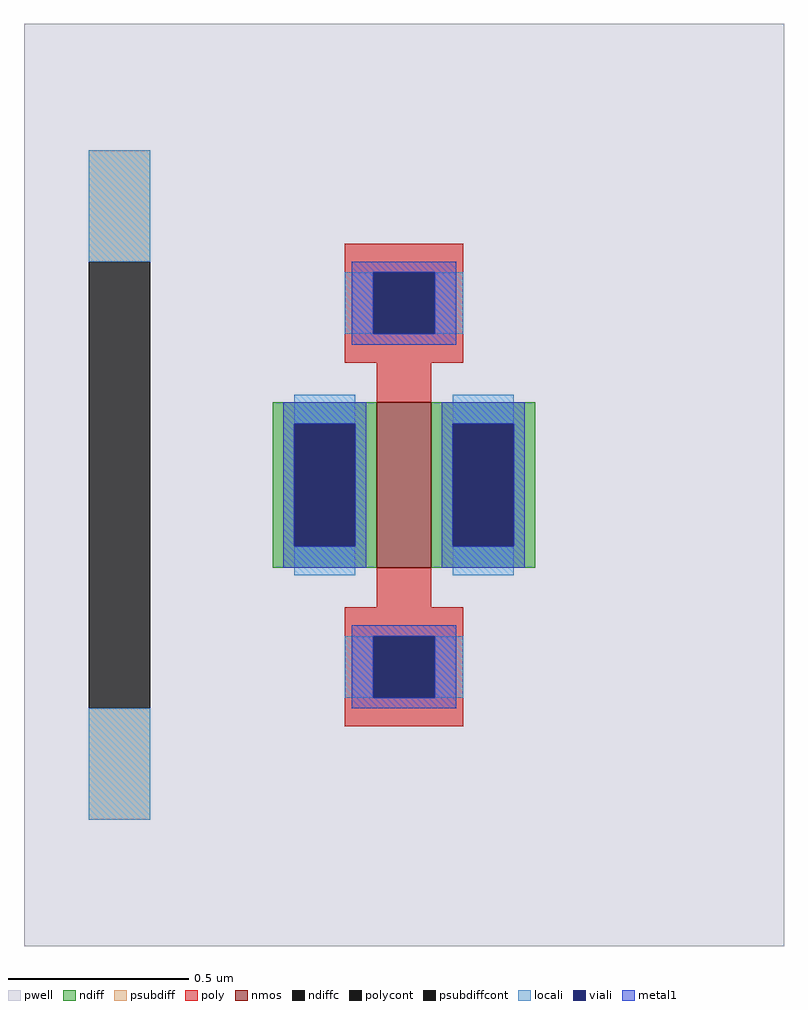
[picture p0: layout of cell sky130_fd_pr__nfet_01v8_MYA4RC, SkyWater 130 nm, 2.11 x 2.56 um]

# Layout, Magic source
magic
tech sky130A
magscale 1 2
<< pwell >>
rect -211 -256 211 256
<< nmos >>
rect -15 -46 15 46
<< ndiff >>
rect -73 34 -15 46
rect -73 -34 -61 34
rect -27 -34 -15 34
rect -73 -46 -15 -34
rect 15 34 73 46
rect 15 -34 27 34
rect 61 -34 73 34
rect 15 -46 73 -34
<< ndiffc >>
rect -61 -34 -27 34
rect 27 -34 61 34
<< psubdiff >>
rect -175 124 -141 186
rect -175 -186 -141 -124
<< psubdiffcont >>
rect -175 -124 -141 124
<< poly >>
rect -33 118 33 134
rect -33 84 -17 118
rect 17 84 33 118
rect -33 68 33 84
rect -15 46 15 68
rect -15 -68 15 -46
rect -33 -84 33 -68
rect -33 -118 -17 -84
rect 17 -118 33 -84
rect -33 -134 33 -118
<< polycont >>
rect -17 84 17 118
rect -17 -118 17 -84
<< locali >>
rect -175 124 -141 186
rect -33 84 -17 118
rect 17 84 33 118
rect -61 34 -27 50
rect -61 -50 -27 -34
rect 27 34 61 50
rect 27 -50 61 -34
rect -33 -118 -17 -84
rect 17 -118 33 -84
rect -175 -186 -141 -124
<< viali >>
rect -17 84 17 118
rect -61 -34 -27 34
rect 27 -34 61 34
rect -17 -118 17 -84
<< metal1 >>
rect -29 118 29 124
rect -29 84 -17 118
rect 17 84 29 118
rect -29 78 29 84
rect -67 34 -21 46
rect -67 -34 -61 34
rect -27 -34 -21 34
rect -67 -46 -21 -34
rect 21 34 67 46
rect 21 -34 27 34
rect 61 -34 67 34
rect 21 -46 67 -34
rect -29 -84 29 -78
rect -29 -118 -17 -84
rect 17 -118 29 -84
rect -29 -124 29 -118
<< properties >>
string FIXED_BBOX -158 -203 158 203
string gencell sky130_fd_pr__nfet_01v8
string library sky130
string parameters w 0.462 l 0.15 m 1 nf 1 diffcov 100 polycov 100 guard 1 glc 1 grc 1 gtc 1 gbc 1 tbcov 100 rlcov 100 topc 1 botc 1 poverlap 0 doverlap 1 lmin 0.15 wmin 0.42 compatible {sky130_fd_pr__nfet_01v8 sky130_fd_pr__nfet_01v8_lvt  sky130_fd_bs_flash__special_sonosfet_star  sky130_fd_pr__nfet_g5v0d10v5 sky130_fd_pr__nfet_05v0_nvt  sky130_fd_pr__nfet_03v3_nvt} full_metal 1 viasrc 100 viadrn 100 viagate 100 viagb 0 viagr 0 viagl 0 viagt 0
<< end >>
